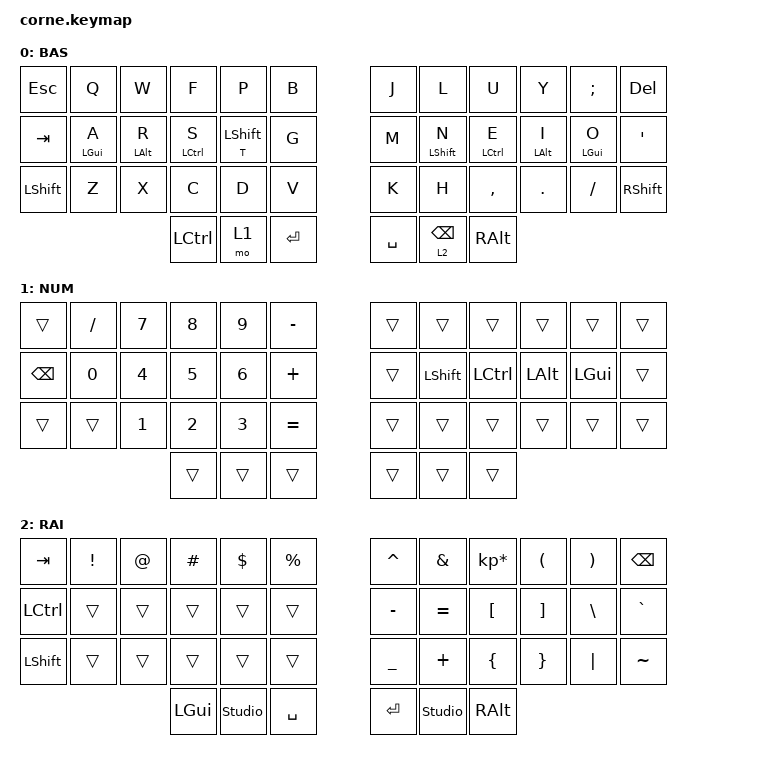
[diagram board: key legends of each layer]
/*
 * Copyright (c) 2020 The ZMK Contributors
 *
 * SPDX-License-Identifier: MIT
 */

#include <dt-bindings/led/led.h>
#include <dt-bindings/zmk/reset.h>
#include <behaviors.dtsi>
#include <dt-bindings/zmk/keys.h>

&led_strip { chain-length = <27>; };

/ {
    behaviors {
        hrl: hrl {
            compatible = "zmk,behavior-hold-tap";
            label = "HRL";
            bindings = <&kp>, <&kp>;

            #binding-cells = <2>;
            tapping-term-ms = <250>;
            quick-tap-ms = <175>;
            require-prior-idle-ms = <150>;
            flavor = "balanced";
            hold-trigger-on-release;
            hold-trigger-key-positions = <6 7 8 9 10 11 18 19 20 21 22 23 30 31 32 33 34 35 39 40 41>;
        };

        hrr: hrr {
            compatible = "zmk,behavior-hold-tap";
            label = "HRR";
            bindings = <&kp>, <&kp>;

            #binding-cells = <2>;
            tapping-term-ms = <250>;
            quick-tap-ms = <175>;
            require-prior-idle-ms = <150>;
            flavor = "balanced";
            hold-trigger-on-release;
            hold-trigger-key-positions = <0 1 2 3 4 5 12 13 14 15 16 17 24 25 26 27 28 29 36 37 38>;
        };
    };

    keymap {
        compatible = "zmk,keymap";

        default_layer {
            display-name = "BAS";

            // -----------------------------------------------------------------------------------------
            // |  TAB |  Q  |  W  |  E  |  R  |  T  |   |  Y  |  U   |  I  |  O  |  P  | BKSP |
            // | CTRL |  A  |  S  |  D  |  F  |  G  |   |  H  |  J   |  K  |  L  |  ;  |  '   |
            // | SHFT |  Z  |  X  |  C  |  V  |  B  |   |  N  |  M   |  ,  |  .  |  /  | ESC  |
            //                    | GUI | LWR | SPC |   | ENT | RSE  | ALT |

            bindings = <
&kp ESC    &kp Q            &kp W            &kp F         &kp P              &kp B        &kp J      &kp L              &kp U         &kp Y            &kp SEMI         &kp DELETE
&kp TAB    &hrl LEFT_GUI A  &hrl LEFT_ALT R  &hrl LCTRL S  &hrl T LEFT_SHIFT  &kp G        &kp M      &hrr LEFT_SHIFT N  &hrr LCTRL E  &hrr LEFT_ALT I  &hrr LEFT_GUI O  &kp SQT
&kp LSHFT  &kp Z            &kp X            &kp C         &kp D              &kp V        &kp K      &kp H              &kp COMMA     &kp DOT          &kp FSLH         &kp RSHFT
                                             &kp LCTRL     &mo 1              &kp ENTER    &kp SPACE  &lt 2 BACKSPACE    &kp RALT
            >;
        };

        num_layer {
            display-name = "NUM ";

            // -----------------------------------------------------------------------------------------
            // |  TAB |  1  |  2  |  3  |  4  |  5  |   |  6  |  7  |  8  |  9  |  0  | BKSP |
            // | BTCLR| BT1 | BT2 | BT3 | BT4 | BT5 |   | LFT | DWN |  UP | RGT |     |      |
            // | SHFT |     |     |     |     |     |   |     |     |     |     |     |      |
            //                    | GUI |     | SPC |   | ENT |     | ALT |

            bindings = <
&trans    &kp FSLH  &kp N7  &kp N8  &kp N9  &kp MINUS    &trans  &trans     &trans     &trans    &trans    &trans
&kp BSPC  &kp N0    &kp N4  &kp N5  &kp N6  &kp PLUS     &trans  &kp LSHFT  &kp LCTRL  &kp LALT  &kp LGUI  &trans
&trans    &trans    &kp N1  &kp N2  &kp N3  &kp EQUAL    &trans  &trans     &trans     &trans    &trans    &trans
                            &trans  &trans  &trans       &trans  &trans     &trans
            >;
        };

        raise_layer {
            display-name = "RAI";

            // -----------------------------------------------------------------------------------------
            // |  TAB |  !  |  @  |  #  |  $  |  %  |   |  ^  |  &  |  *  |  (  |  )  | BKSP |
            // | CTRL |     |     |     |     |     |   |  -  |  =  |  [  |  ]  |  \  |  `   |
            // | SHFT |     |     |     |     |     |   |  _  |  +  |  {  |  }  | "|" |  ~   |
            //                    | GUI |     | SPC |   | ENT |     | ALT |

            bindings = <
&kp TAB    &kp EXCL  &kp AT  &kp HASH  &kp DLLR        &kp PRCNT    &kp CARET  &kp AMPS        &kp KP_MULTIPLY  &kp LPAR  &kp RPAR  &kp BSPC
&kp LCTRL  &trans    &trans  &trans    &trans          &trans       &kp MINUS  &kp EQUAL       &kp LBKT         &kp RBKT  &kp BSLH  &kp GRAVE
&kp LSHFT  &trans    &trans  &trans    &trans          &trans       &kp UNDER  &kp PLUS        &kp LBRC         &kp RBRC  &kp PIPE  &kp TILDE
                             &kp LGUI  &studio_unlock  &kp SPACE    &kp RET    &studio_unlock  &kp RALT
            >;
        };

        extra_1 { status = "reserved"; };

        extra_2 { status = "reserved"; };

        extra_3 { status = "reserved"; };
    };
};
